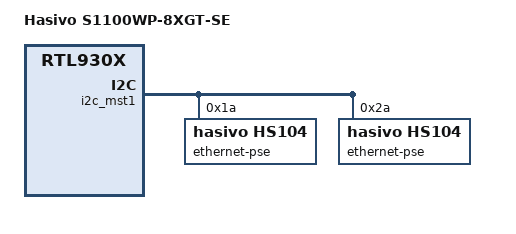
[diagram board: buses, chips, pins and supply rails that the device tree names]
// SPDX-License-Identifier: GPL-2.0-or-later

#include "rtl9303_hasivo_s1100.dtsi"

/ {
	compatible = "hasivo,s1100wp-8xgt-se", "realtek,rtl930x-soc";
	model = "Hasivo S1100WP-8XGT-SE";
};

&i2c_mst1 {
	status = "okay";

	ethernet-pse@1a {
		compatible = "hasivo,hs104";
		reg = <0x1a>;
	};

	ethernet-pse@2a {
		compatible = "hasivo,hs104";
		reg = <0x2a>;
	};
};

